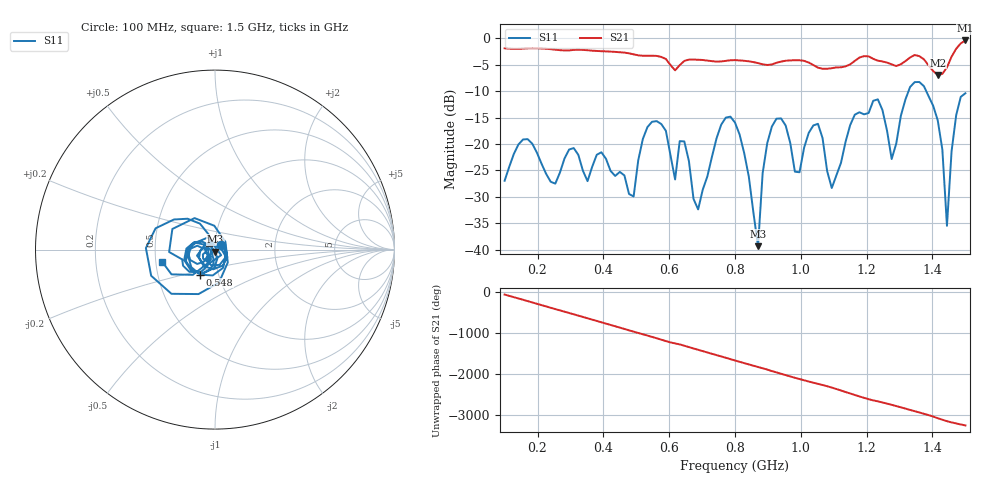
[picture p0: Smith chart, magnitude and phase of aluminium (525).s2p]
! NanoVNA-App
! Date: 2025-09-25 14:59:22
! Start: 100MHz Stop: 1,5GHz Points: 101
! S-Parameter data: F S11 S21 S12 S22
# Hz S RI R 50
!  Frequency  S11_Real  S11_Imag  S21_Real  S21_Imag  S12_Real  S12_Imag  S22_Real  S22_Imag
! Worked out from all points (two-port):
!   101 points, 100 MHz to 1.5 GHz, reference 50 ohm
!   highest |S21| = -0.43 dB at 1.5 GHz (marker M1); lowest = -7.0 dB at 1.416 GHz (marker M2)
!   |S21| within 3 dB of the highest: start of sweep to 567.6 MHz; 1.459 GHz to end of sweep (the widest 2 of 4)
!   lowest |S11| = -39.3 dB at 870 MHz (marker M3), VSWR 1.02, Z = 50.2 - j1.06 ohm
!   |S11| at or under -10 dB: start of sweep to 1.327 GHz; 1.381 GHz to end of sweep
!   S12 and S22 are empty: the file has one direction only
!   S11 on the Smith chart (normalised r, x): 100 MHz: 1.07, +0.06; 548 MHz: 0.82, -0.23; 1.5 GHz: 0.54, -0.08
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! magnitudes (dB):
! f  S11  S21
! 100 MHz  -27.0  -1.9
! 156 MHz  -19.2  -2.0
! 338 MHz  -25.1  -2.2
! 492 MHz  -29.9  -3.1
! 548 MHz  -15.8  -3.3
! 576 MHz  -16.2  -3.5
! 618 MHz  -26.7  -6.1
! 646 MHz  -19.5  -4.3
! 688 MHz  -32.4  -4.1
! 800 MHz  -16.0  -4.1
! 870 MHz  -39.3  -4.7
! 912 MHz  -16.7  -5.0
! 996 MHz  -25.4  -4.2
! 1.038 GHz  -16.5  -5.1
! 1.094 GHz  -28.3  -5.7
! 1.22 GHz  -11.8  -3.9
! 1.276 GHz  -22.8  -4.9
! 1.346 GHz  -8.3  -3.2
! 1.416 GHz  -15.5  -7.0
! 1.444 GHz  -35.5  -5.5
! 1.472 GHz  -14.6  -2.0
! 1.5 GHz  -10.4  -0.4
